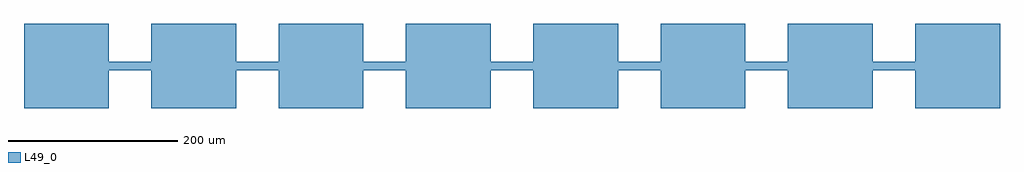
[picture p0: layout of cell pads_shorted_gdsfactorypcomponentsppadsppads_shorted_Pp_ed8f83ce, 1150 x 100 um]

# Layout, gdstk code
import gdstk
lib = gdstk.Library(unit=1e-6, precision=1e-09)
def R(c, l, rs):  # rectangles x0, y0, x1, y1
    for r in rs: c.add(gdstk.rectangle(r[:2], r[2:], *l))
L49_0 = (49, 0)

pad_gdsfactorypcomponent = lib.new_cell('pad_gdsfactorypcomponentsppadsppad_S100_100_LMTOP_BLNon_457de54c')
R(pad_gdsfactorypcomponent, L49_0, [(-50,-50,50,50)])

rectangle_gdsfactorypcom = lib.new_cell('rectangle_gdsfactorypcomponentspshapesprectangle_S1050__0d3b0661')
R(rectangle_gdsfactorypcom, L49_0, [(-525,-5,525,5)])

pads_shorted_gdsfactoryp = lib.new_cell('pads_shorted_gdsfactorypcomponentsppadsppads_shorted_Pp_ed8f83ce')
pads_shorted_gdsfactoryp.add(gdstk.Reference(pad_gdsfactorypcomponent, (-525,0)))
pads_shorted_gdsfactoryp.add(gdstk.Reference(pad_gdsfactorypcomponent, (-375,0)))
pads_shorted_gdsfactoryp.add(gdstk.Reference(pad_gdsfactorypcomponent, (-225,0)))
pads_shorted_gdsfactoryp.add(gdstk.Reference(pad_gdsfactorypcomponent, (-75,0)))
pads_shorted_gdsfactoryp.add(gdstk.Reference(pad_gdsfactorypcomponent, (75,0)))
pads_shorted_gdsfactoryp.add(gdstk.Reference(pad_gdsfactorypcomponent, (225,0)))
pads_shorted_gdsfactoryp.add(gdstk.Reference(pad_gdsfactorypcomponent, (375,0)))
pads_shorted_gdsfactoryp.add(gdstk.Reference(pad_gdsfactorypcomponent, (525,0)))
pads_shorted_gdsfactoryp.add(gdstk.Reference(rectangle_gdsfactorypcom, (0,0)))

lib.write_gds('pads_shorted_gdsfactorypcomponentsppadsppads_shorted_Pp_ed8f83ce.gds')
